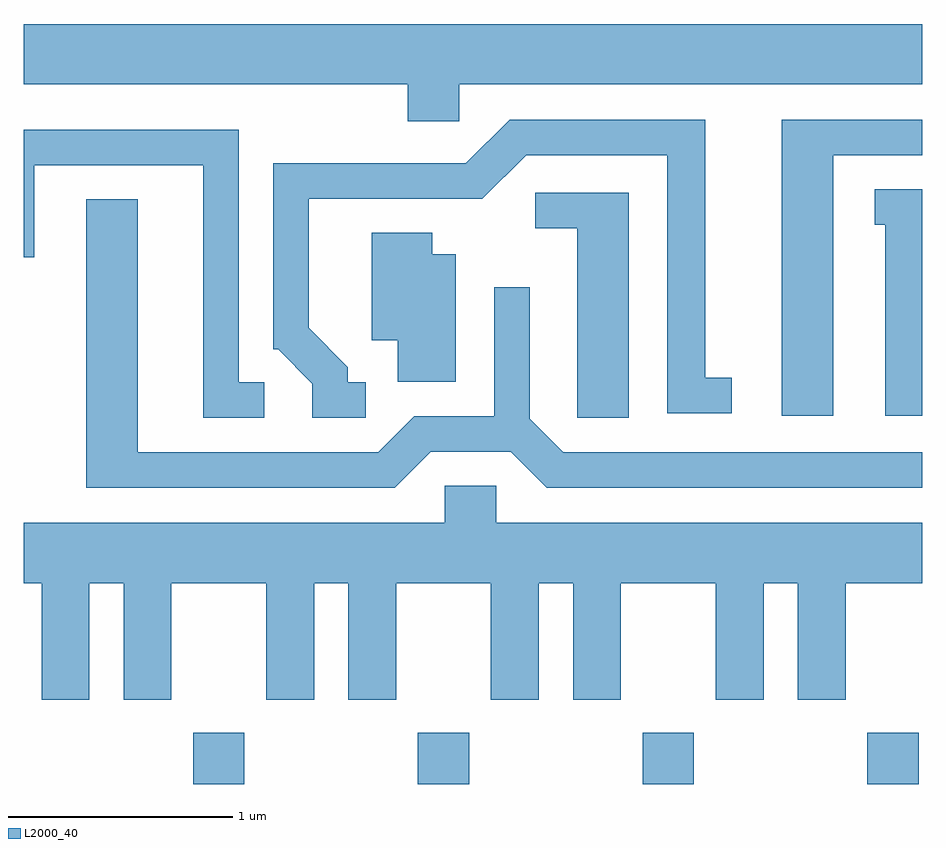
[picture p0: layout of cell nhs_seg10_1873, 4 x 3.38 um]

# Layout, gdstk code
import gdstk
lib = gdstk.Library(unit=1e-6, precision=1e-09)
def R(c, l, rs):  # rectangles x0, y0, x1, y1
    for r in rs: c.add(gdstk.rectangle(r[:2], r[2:], *l))
def A(c, l, x, y, w, h, nx, ny, dx, dy):  # array of equal rectangles
    R(c, l, [(x+i*dx, y+j*dy, x+i*dx+w, y+j*dy+h) for i in range(nx) for j in range(ny)])
def P(c, l, *ps):  # polygons
    for p in ps: c.add(gdstk.Polygon(p, *l))
L2000_40 = (2000, 40)

nhs_seg10_1873 = lib.new_cell('nhs_seg10_1873')
A(nhs_seg10_1873, L2000_40, 240.366, 2168.522, 0.228, 0.227, 4, 1, 1, 0)
P(nhs_seg10_1873, L2000_40, [(241.549,2171.636),(243.611,2171.636),(243.611,2171.904),(239.611,2171.904),(239.611,2171.636),(241.321,2171.636),(241.321,2171.471),(241.549,2171.471)],
  [(241.133,2170.309),(241.054,2170.309),(241.054,2170.377),(240.879,2170.552),(240.879,2171.126),(241.652,2171.126),(241.847,2171.321),(242.476,2171.321),(242.476,2170.171),(242.763,2170.171),(242.763,2170.329),(242.644,2170.329),(242.644,2171.479),(241.774,2171.479),(241.579,2171.284),(240.721,2171.284),(240.721,2170.456),(240.744,2170.456),(240.896,2170.304),(240.896,2170.151),(241.133,2170.151)],
  [(243.214,2171.321),(243.611,2171.321),(243.611,2171.479),(242.986,2171.479),(242.986,2170.161),(243.214,2170.161)],
  [(240.683,2170.309),(240.569,2170.309),(240.569,2171.434),(239.611,2171.434),(239.611,2170.866),(239.659,2170.866),(239.659,2171.276),(240.411,2171.276),(240.411,2170.151),(240.683,2170.151)],
  [(243.611,2171.169),(243.398,2171.169),(243.398,2171.011),(243.446,2171.011),(243.446,2170.161),(243.611,2170.161)],
  [(242.304,2171.154),(241.888,2171.154),(241.888,2170.996),(242.076,2170.996),(242.076,2170.151),(242.304,2170.151)],
  [(241.422,2170.001),(241.779,2170.001),(241.939,2169.841),(243.611,2169.841),(243.611,2169.999),(242.012,2169.999),(241.864,2170.147),(241.864,2170.733),(241.706,2170.733),(241.706,2170.159),(241.349,2170.159),(241.189,2169.999),(240.119,2169.999),(240.119,2171.124),(239.891,2171.124),(239.891,2169.841),(241.262,2169.841)],
  [(241.534,2170.879),(241.429,2170.879),(241.429,2170.974),(241.161,2170.974),(241.161,2170.496),(241.276,2170.496),(241.276,2170.311),(241.534,2170.311)],
  [(239.904,2169.416),(240.056,2169.416),(240.056,2168.896),(240.269,2168.896),(240.269,2169.416),(240.691,2169.416),(240.691,2168.896),(240.904,2168.896),(240.904,2169.416),(241.056,2169.416),(241.056,2168.896),(241.269,2168.896),(241.269,2169.416),(241.691,2169.416),(241.691,2168.896),(241.904,2168.896),(241.904,2169.416),(242.056,2169.416),(242.056,2168.896),(242.269,2168.896),(242.269,2169.416),(242.691,2169.416),(242.691,2168.896),(242.904,2168.896),(242.904,2169.416),(243.056,2169.416),(243.056,2168.896),(243.269,2168.896),(243.269,2169.416),(243.611,2169.416),(243.611,2169.684),(241.714,2169.684),(241.714,2169.849),(241.486,2169.849),(241.486,2169.684),(239.611,2169.684),(239.611,2169.416),(239.691,2169.416),(239.691,2168.896),(239.904,2168.896)])

lib.write_gds('nhs_seg10_1873.gds')
